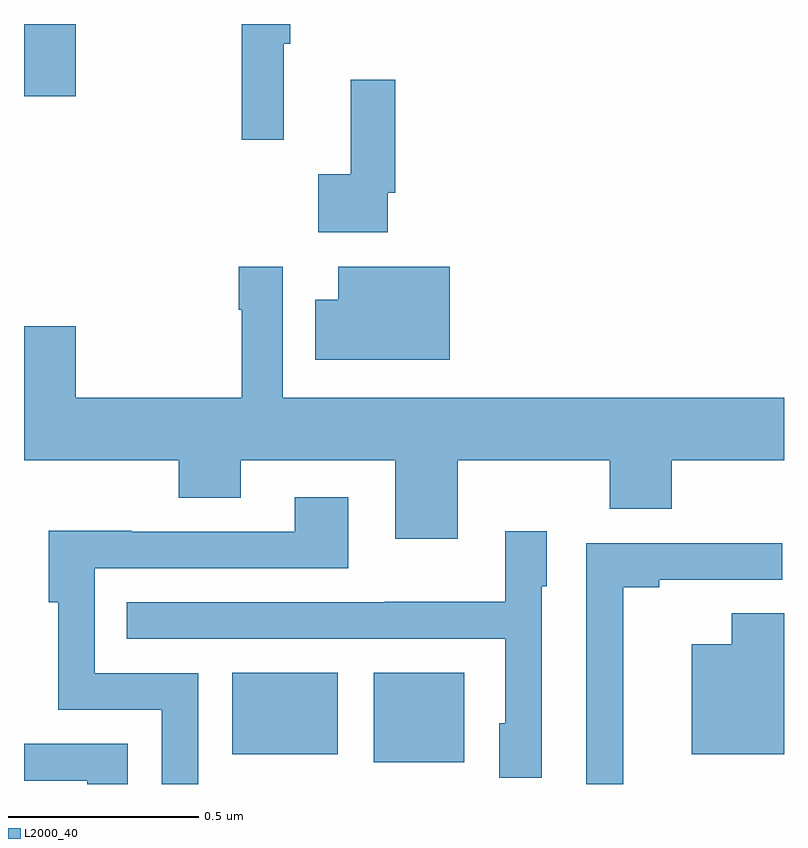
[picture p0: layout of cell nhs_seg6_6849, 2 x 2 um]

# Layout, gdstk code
import gdstk
lib = gdstk.Library(unit=1e-6, precision=1e-09)
def R(c, l, rs):  # rectangles x0, y0, x1, y1
    for r in rs: c.add(gdstk.rectangle(r[:2], r[2:], *l))
def P(c, l, *ps):  # polygons
    for p in ps: c.add(gdstk.Polygon(p, *l))
L2000_40 = (2000, 40)

nhs_seg6_6849 = lib.new_cell('nhs_seg6_6849')
R(nhs_seg6_6849, L2000_40, [(201.92,930.557,202.159,930.793), (201.548,930.578,201.826,930.793), (201,932.31,201.136,932.5)])
P(nhs_seg6_6849, L2000_40, [(201.683,932.448),(201.701,932.448),(201.701,932.5),(201.573,932.5),(201.573,932.196),(201.683,932.196)],
  [(201.957,932.056),(201.977,932.056),(201.977,932.353),(201.86,932.353),(201.86,932.105),(201.774,932.105),(201.774,931.952),(201.957,931.952)],
  [(202.141,931.352),(202.541,931.352),(202.541,931.224),(202.705,931.224),(202.705,931.352),(203,931.352),(203,931.516),(201.681,931.516),(201.681,931.861),(201.565,931.861),(201.565,931.748),(201.573,931.748),(201.573,931.516),(201.136,931.516),(201.136,931.705),(201,931.705),(201,931.352),(201.407,931.352),(201.407,931.253),(201.571,931.253),(201.571,931.352),(201.977,931.352),(201.977,931.146),(202.141,931.146)],
  [(202.12,931.861),(201.827,931.861),(201.827,931.774),(201.766,931.774),(201.766,931.616),(202.12,931.616)],
  [(201.459,930.792),(201.186,930.792),(201.186,931.068),(201.853,931.068),(201.853,931.255),(201.713,931.255),(201.713,931.164),(201.283,931.164),(201.283,931.166),(201.065,931.166),(201.065,930.978),(201.09,930.978),(201.09,930.696),(201.363,930.696),(201.363,930.5),(201.459,930.5)],
  [(202.362,931.02),(202.375,931.02),(202.375,931.165),(202.266,931.165),(202.266,930.979),(201.949,930.979),(201.949,930.978),(201.271,930.978),(201.271,930.882),(202.266,930.882),(202.266,930.66),(202.25,930.66),(202.25,930.517),(202.362,930.517)],
  [(202.577,931.018),(202.672,931.018),(202.672,931.038),(202.996,931.038),(202.996,931.134),(202.479,931.134),(202.479,930.5),(202.577,930.5)],
  [(203,930.949),(202.862,930.949),(202.862,930.868),(202.757,930.868),(202.757,930.578),(203,930.578)],
  [(201.273,930.606),(201,930.606),(201,930.509),(201.166,930.509),(201.166,930.5),(201.273,930.5)])

lib.write_gds('nhs_seg6_6849.gds')
